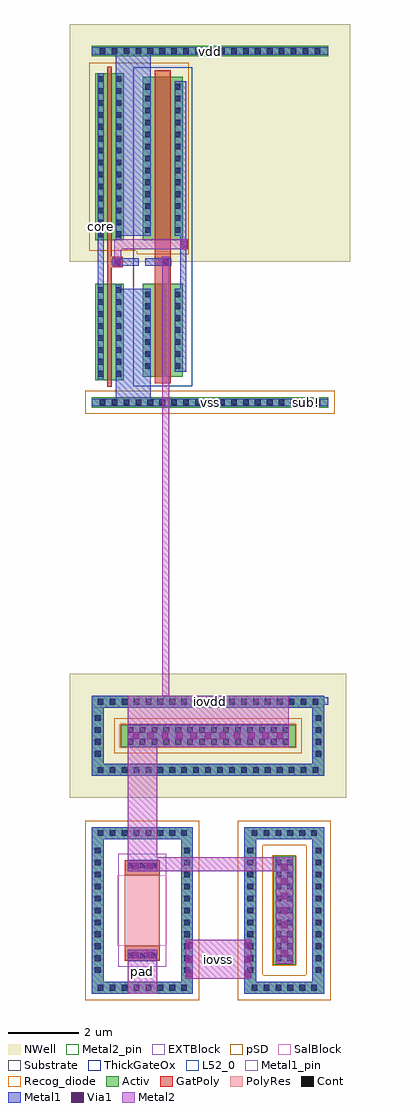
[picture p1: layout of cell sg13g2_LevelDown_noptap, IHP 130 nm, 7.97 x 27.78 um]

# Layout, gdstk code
import gdstk
lib = gdstk.Library(unit=1e-6, precision=5e-09)
def R(c, l, rs):  # rectangles x0, y0, x1, y1
    for r in rs: c.add(gdstk.rectangle(r[:2], r[2:], *l))
def A(c, l, x, y, w, h, nx, ny, dx, dy):  # array of equal rectangles
    R(c, l, [(x+i*dx, y+j*dy, x+i*dx+w, y+j*dy+h) for i in range(nx) for j in range(ny)])
def P(c, l, *ps):  # polygons
    for p in ps: c.add(gdstk.Polygon(p, *l))
Activ = (1, 0)
GatPoly = (5, 0)
Cont = (6, 0)
Metal1 = (8, 0)
Metal1_pin = (8, 2)
Metal2 = (10, 0)
Metal2_pin = (10, 2)
pSD = (14, 0)
Via1 = (19, 0)
SalBlock = (28, 0)
NWell = (31, 0)
Substrate = (40, 0)
ThickGateOx = (44, 0)
L52_0 = (52, 0)
Recog_diode = (99, 31)
EXTBlock = (111, 0)
PolyRes = (128, 0)

sg13g2_secondaryprotecti = lib.new_cell('sg13g2_SecondaryProtection_noptap')
R(sg13g2_secondaryprotecti, Activ, [(5.16,0.82,5.8,3.92), (0.82,7.02,5.8,7.66)])
P(sg13g2_secondaryprotecti, Activ, [(0,6.2),(0,8.14),(0.34,8.14),(0.34,6.54),(6.28,6.54),(6.28,8.14),(0,8.14),(0,8.48),(6.62,8.48),(6.62,6.2)],
  [(4.34,0),(4.34,4.4),(4.68,4.4),(4.68,0.34),(6.28,0.34),(6.28,4.4),(4.34,4.4),(4.34,4.74),(6.62,4.74),(6.62,0)],
  [(0,0),(0,4.4),(0.34,4.4),(0.34,0.34),(2.54,0.34),(2.54,4.4),(0,4.4),(0,4.74),(2.88,4.74),(2.88,0)])
R(sg13g2_secondaryprotecti, GatPoly, [(0.94,0.94,1.94,1.37), (0.94,3.37,1.94,3.8)])
A(sg13g2_secondaryprotecti, Cont, 0.17, 0.09, 0.16, 0.16, 8, 2, 0.34, 4.4)
A(sg13g2_secondaryprotecti, Cont, 4.55, 0.09, 0.16, 0.16, 6, 2, 0.34, 4.4)
A(sg13g2_secondaryprotecti, Cont, 0.09, 0.59, 0.16, 0.16, 1, 11, 0, 0.34)
A(sg13g2_secondaryprotecti, Cont, 2.63, 0.59, 0.16, 0.16, 1, 11, 0, 0.34)
A(sg13g2_secondaryprotecti, Cont, 4.43, 0.59, 0.16, 0.16, 1, 11, 0, 0.34)
A(sg13g2_secondaryprotecti, Cont, 6.37, 0.59, 0.16, 0.16, 1, 11, 0, 0.34)
A(sg13g2_secondaryprotecti, Cont, 5.23, 0.93, 0.16, 0.16, 1, 9, 0, 0.34)
A(sg13g2_secondaryprotecti, Cont, 5.57, 0.93, 0.16, 0.16, 1, 9, 0, 0.34)
A(sg13g2_secondaryprotecti, Cont, 1.02, 1.01, 0.16, 0.16, 3, 2, 0.34, 2.56)
A(sg13g2_secondaryprotecti, Cont, 0.17, 6.29, 0.16, 0.16, 19, 2, 0.34, 1.94)
A(sg13g2_secondaryprotecti, Cont, 0.09, 6.75, 0.16, 0.16, 1, 4, 0, 0.34)
A(sg13g2_secondaryprotecti, Cont, 6.37, 6.75, 0.16, 0.16, 1, 4, 0, 0.34)
A(sg13g2_secondaryprotecti, Cont, 1.02, 7.09, 0.16, 0.16, 14, 2, 0.34, 0.34)
R(sg13g2_secondaryprotecti, Metal1, [(2.67,0.42,2.88,1.53), (4.34,0.42,4.55,1.53), (5.23,0.85,5.73,3.89), (1.02,0.93,1.86,1.25), (1.02,3.49,1.86,3.81), (1.02,7.01,5.6,7.67), (0,8.14,6.62,8.48)])
P(sg13g2_secondaryprotecti, Metal1, [(0,6.2),(0,8.14),(0.34,8.14),(0.34,6.54),(6.28,6.54),(6.28,8.14),(0,8.14),(0,8.48),(6.62,8.48),(6.62,6.2)],
  [(4.34,0),(4.34,4.4),(4.68,4.4),(4.68,0.34),(6.28,0.34),(6.28,4.4),(4.34,4.4),(4.34,4.74),(6.62,4.74),(6.62,0)],
  [(0,0),(0,4.4),(0.34,4.4),(0.34,0.34),(2.54,0.34),(2.54,4.4),(0,4.4),(0,4.74),(2.88,4.74),(2.88,0)])
R(sg13g2_secondaryprotecti, Metal1_pin, [(0,8.14,6.62,8.48)])
R(sg13g2_secondaryprotecti, Metal2, [(1.02,0,1.86,1.25), (2.675,0.42,4.545,1.53)])
P(sg13g2_secondaryprotecti, Metal2, [(5.23,0.85),(5.23,3.49),(1.02,3.49),(1.02,8.48),(5.6,8.48),(5.6,7.01),(1.86,7.01),(1.86,3.89),(5.73,3.89),(5.73,0.85)])
R(sg13g2_secondaryprotecti, Metal2_pin, [(1.02,0,1.86,1.25), (2.675,0.42,4.545,1.53), (1.02,7.01,5.6,8.48)])
R(sg13g2_secondaryprotecti, pSD, [(0,0,2.88,4.74), (0.64,6.84,5.98,7.84)])
P(sg13g2_secondaryprotecti, pSD, [(4.16,-0.18),(4.16,4.22),(4.86,4.22),(4.86,0.52),(6.1,0.52),(6.1,4.22),(4.16,4.22),(4.16,4.92),(6.8,4.92),(6.8,-0.18)],
  [(-0.18,-0.18),(-0.18,4.22),(0.52,4.22),(0.52,0.52),(2.36,0.52),(2.36,4.22),(-0.18,4.22),(-0.18,4.92),(3.06,4.92),(3.06,-0.18)])
A(sg13g2_secondaryprotecti, Via1, 2.68, 0.47, 0.19, 0.19, 1, 3, 0, 0.41)
A(sg13g2_secondaryprotecti, Via1, 4.35, 0.47, 0.19, 0.19, 1, 3, 0, 0.41)
A(sg13g2_secondaryprotecti, Via1, 5.385, 1.045, 0.19, 0.19, 1, 7, 0, 0.41)
A(sg13g2_secondaryprotecti, Via1, 1.165, 7.245, 0.19, 0.19, 11, 1, 0.41, 0)
R(sg13g2_secondaryprotecti, Via1, [(1.14,1.01,1.33,1.2), (1.55,1.01,1.74,1.2), (1.14,3.54,1.33,3.73), (1.55,3.54,1.74,3.73)])
R(sg13g2_secondaryprotecti, SalBlock, [(0.74,1.37,2.14,3.37)])
R(sg13g2_secondaryprotecti, NWell, [(-0.62,5.58,7.24,9.1), (0.2,6.4,6.42,8.28)])
P(sg13g2_secondaryprotecti, Substrate, [(4.34,0),(4.34,4.4),(4.68,4.4),(4.68,0.34),(6.28,0.34),(6.28,4.4),(4.34,4.4),(4.34,4.74),(6.62,4.74),(6.62,0)],
  [(0,0),(0,4.4),(0.34,4.4),(0.34,0.34),(2.54,0.34),(2.54,4.4),(0,4.4),(0,4.74),(2.88,4.74),(2.88,0)])
R(sg13g2_secondaryprotecti, L52_0, [(0.94,1.37,1.94,3.37)])
R(sg13g2_secondaryprotecti, Recog_diode, [(5.14,0.8,5.82,3.94), (0.8,7,5.82,7.68)])
R(sg13g2_secondaryprotecti, EXTBlock, [(0.76,0.76,2.12,3.98)])
R(sg13g2_secondaryprotecti, PolyRes, [(0.94,1.37,1.94,3.37)])
sg13g2_secondaryprotecti.add(gdstk.Label('sub!', (4.51,0.17), layer=63, texttype=0))
sg13g2_secondaryprotecti.add(gdstk.Label('sub!', (0.17,0.17), layer=63, texttype=0))
sg13g2_secondaryprotecti.add(gdstk.Label('dpant', (3.31,7.34), layer=63, texttype=0))
sg13g2_secondaryprotecti.add(gdstk.Label('rppd r=793.834', (1.44,2.37), layer=63, texttype=0))
sg13g2_secondaryprotecti.add(gdstk.Label('dant', (5.48,2.37), layer=63, texttype=0))
sg13g2_secondaryprotecti.add(gdstk.Label('iovdd', (3.405,8.295), layer=8, texttype=25))
sg13g2_secondaryprotecti.add(gdstk.Label('iovss', (3.61,0.975), layer=10, texttype=25))
sg13g2_secondaryprotecti.add(gdstk.Label('core', (3.31,7.745), layer=10, texttype=25))
sg13g2_secondaryprotecti.add(gdstk.Label('pad', (1.44,0.625), layer=10, texttype=25))

sg13g2_leveldown_noptap = lib.new_cell('sg13g2_LevelDown_noptap')
R(sg13g2_leveldown_noptap, Activ, [(0,8.35,6.73,8.65), (0.105,9.13,0.915,11.88), (1.455,9.23,2.585,11.88), (0.105,13.12,0.915,17.87), (1.455,13.12,2.585,17.77), (0,18.35,6.73,18.65)])
R(sg13g2_leveldown_noptap, GatPoly, [(1.795,9.05,2.245,17.95)])
P(sg13g2_leveldown_noptap, GatPoly, [(0.445,8.95),(0.445,18.05),(0.575,18.05),(0.575,12.65),(0.875,12.65),(0.875,12.35),(0.575,12.35),(0.575,8.95)])
A(sg13g2_leveldown_noptap, Cont, 0.225, 8.42, 0.16, 0.16, 19, 2, 0.34, 10)
A(sg13g2_leveldown_noptap, Cont, 0.175, 9.235, 0.16, 0.16, 1, 8, 0, 0.34)
A(sg13g2_leveldown_noptap, Cont, 0.685, 9.235, 0.16, 0.16, 1, 8, 0, 0.34)
A(sg13g2_leveldown_noptap, Cont, 1.525, 9.455, 0.16, 0.16, 1, 7, 0, 0.34)
A(sg13g2_leveldown_noptap, Cont, 2.355, 9.455, 0.16, 0.16, 1, 7, 0, 0.34)
A(sg13g2_leveldown_noptap, Cont, 0.175, 13.205, 0.16, 0.16, 1, 14, 0, 0.34)
A(sg13g2_leveldown_noptap, Cont, 0.685, 13.205, 0.16, 0.16, 1, 14, 0, 0.34)
A(sg13g2_leveldown_noptap, Cont, 1.525, 13.325, 0.16, 0.16, 1, 13, 0, 0.34)
A(sg13g2_leveldown_noptap, Cont, 2.355, 13.325, 0.16, 0.16, 1, 13, 0, 0.34)
R(sg13g2_leveldown_noptap, Cont, [(0.645,12.42,0.805,12.58), (2.015,12.42,2.175,12.58)])
R(sg13g2_leveldown_noptap, Metal1, [(0,-0.105,6.73,0.105), (0.175,9.155,0.335,17.865), (1.515,12.395,2.255,12.605)])
P(sg13g2_leveldown_noptap, Metal1, [(2.355,9.375),(2.355,11.735),(2.515,11.735),(2.515,13.245),(2.355,13.245),(2.355,17.645),(2.695,17.645),(2.695,13.145),(2.725,13.145),(2.725,12.855),(2.695,12.855),(2.695,9.375)],
  [(0.595,12.395),(0.595,12.42),(0.565,12.42),(0.565,12.58),(0.595,12.58),(0.595,12.605),(1.335,12.605),(1.335,12.395)],
  [(0.685,13.125),(0.685,18.395),(0,18.395),(0,18.605),(6.73,18.605),(6.73,18.395),(1.685,18.395),(1.685,13.245),(0.845,13.245),(0.845,13.125)],
  [(0,8.395),(0,8.605),(0.685,8.605),(0.685,11.855),(0.845,11.855),(0.845,11.735),(1.685,11.735),(1.685,8.605),(6.73,8.605),(6.73,8.395)])
R(sg13g2_leveldown_noptap, Metal1_pin, [(0,-0.105,6.73,0.105), (0,8.395,6.73,8.605), (0.175,9.155,0.335,17.865), (0,18.395,6.73,18.605)])
R(sg13g2_leveldown_noptap, Metal2, [(1.02,-8.33,1.86,-7.08), (2.675,-7.91,4.545,-6.8), (2.01,0.15,2.21,12.645)])
P(sg13g2_leveldown_noptap, Metal2, [(0.64,12.355),(0.64,13.145),(2.72,13.145),(2.72,12.855),(0.84,12.855),(0.84,12.355)])
R(sg13g2_leveldown_noptap, Metal2_pin, [(1.02,-8.33,1.86,-7.08), (2.675,-7.91,4.545,-6.8)])
R(sg13g2_leveldown_noptap, pSD, [(-0.18,8.17,6.91,8.83)])
P(sg13g2_leveldown_noptap, pSD, [(1.275,12.72),(1.275,12.82),(-0.075,12.82),(-0.075,18.17),(2.765,18.17),(2.765,12.72)])
R(sg13g2_leveldown_noptap, Via1, [(0.645,12.405,0.835,12.595), (2.015,12.405,2.205,12.595), (2.525,12.905,2.715,13.095)])
R(sg13g2_leveldown_noptap, NWell, [(-0.62,12.5,7.35,19.27)])
R(sg13g2_leveldown_noptap, Substrate, [(0,8.35,6.73,8.65)])
R(sg13g2_leveldown_noptap, ThickGateOx, [(1.185,8.96,2.855,18.04)])
sg13g2_leveldown_noptap.add(gdstk.Reference(sg13g2_secondaryprotecti, (0,-8.33)))
sg13g2_leveldown_noptap.add(gdstk.Label('sub!', (6.12,8.485), layer=63, texttype=0))
sg13g2_leveldown_noptap.add(gdstk.Label('iovdd', (3.365,0), layer=8, texttype=25))
sg13g2_leveldown_noptap.add(gdstk.Label('vdd', (3.365,18.5), layer=8, texttype=25))
sg13g2_leveldown_noptap.add(gdstk.Label('vss', (3.365,8.5), layer=8, texttype=25))
sg13g2_leveldown_noptap.add(gdstk.Label('core', (0.255,13.51), layer=8, texttype=25))
sg13g2_leveldown_noptap.add(gdstk.Label('iovss', (3.61,-7.355), layer=10, texttype=25))
sg13g2_leveldown_noptap.add(gdstk.Label('pad', (1.44,-7.705), layer=10, texttype=25))

lib.write_gds('sg13g2_LevelDown_noptap.gds')
